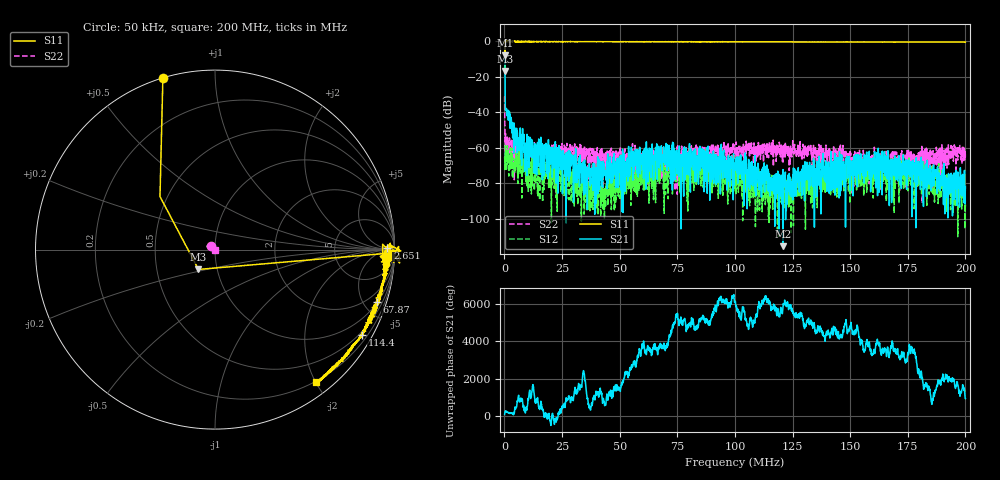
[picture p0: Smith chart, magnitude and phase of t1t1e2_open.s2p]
! 12-May-26 12:27:23 PM
! E:\REC_VNA_20260512\T1T1E2_OPEN.S2P
! CHANNEL.1
! TR.MEASUREMENT
! CORRECTED.DATA
# GHZ S RI R 50.0
! FREQ.GHZ  S11RE  S11IM  S21RE  S21IM  S12RE  S12IM  S22RE  S22IM
!; PortSelection: Port_12
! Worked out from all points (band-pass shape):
!   2000 points, 50 kHz to 200 MHz, reference 50 ohm
!   highest |S21| = -7.95 dB at 150 kHz (marker M1); lowest = -115.3 dB at 120.8 MHz (marker M2)
!   |S21| within 3 dB of the highest: start of sweep to 181.3 kHz
!   lowest |S11| = -16.8 dB at 250 kHz (marker M3), VSWR 1.34, Z = 40.6 - j9.18 ohm
!   |S11| at or under -10 dB: 177.5 kHz to 290.6 kHz (113.1 kHz wide, 48.3 % of centre)
!   |S22| runs from -91.2 to -31.1 dB; largest |S21 - S12| = 0.4
!   S11 on the Smith chart (normalised r, x): 50 kHz: 0.00, +0.74; 2.651 MHz: 48, +9; 67.87 MHz: 1.09, -6.12; 114.4 MHz: 0.39, -3.68; 200 MHz: 0.18, -2.01
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5e-05  -0.2905 0.9534  0.0648 0.3736  -5.83e-05 -0.000552  -0.02 0.0192
0.000150025  -0.3065 0.2956  -0.3676 0.1589  0.000276 -0.000292  0.00479 -0.00278
0.00025005  -0.0921 -0.1106  -0.0609 -0.118  0.000164 -0.00018  0.000698 -0.000815
0.0012503  0.9548 0.0159  -0.00983 -0.00338  0.000153 0.00113  0.00193 0.000377
0.00265065  0.9605 0.00766  -0.00351 0.00159  -0.00042 0.000242  0.000596 0.000216
0.004951226  0.9459 -0.0177  0.000122 0.00144  0.000466 0.000624  0.00127 -0.000122
0.009752426  0.966 -0.042  -0.001 0.00215  0.000245 8.44e-05  0.00113 0.000857
0.01505375  0.9589 -0.0819  -0.000866 0.000463  0.000348 0.000101  0.000748 0.000567
0.03345835  0.9407 -0.1495  1.15e-05 0.000159  -3.48e-05 9.51e-05  0.000743 0.000635
0.04156038  0.9339 -0.1848  0.00011 0.000118  7.66e-05 3.5e-05  0.000731 0.000242
0.05186296  0.9247 -0.2292  -9.61e-05 -1.75e-05  -0.000238 -9.37e-05  0.00025 9.24e-05
0.05486371  0.9201 -0.2393  0.000495 -0.000217  -2.26e-05 -8.5e-06  0.000425 0.000687
0.06676668  0.9095 -0.2919  0.000291 0.000185  8.8e-05 0.000246  0.000548 1.6e-05
0.06786696  0.8999 -0.2926  0.000769 0.000532  0.00032 -0.000268  0.000871 0.000286
0.100075  0.8539 -0.4228  0.000239 2.1e-06  -5.24e-05 -2.87e-05  0.000692 0.000455
0.1143786  0.8204 -0.4761  8.14e-05 9.03e-05  -6.18e-05 3.64e-05  0.000751 0.000658
0.1207802  0.8044 -0.4968  1.7e-06 2e-07  -1.05e-05 -4.8e-05  0.00011 0.000452
0.1333833  0.7677 -0.539  -0.00015 6.78e-05  -4.62e-05 -3.41e-05  -2.1e-06 0.000541
0.1475869  0.7287 -0.5871  -0.000244 0.000232  2.8e-06 -7.86e-05  -0.000614 0.000558
0.1628907  0.6878 -0.6384  -0.000353 0.000432  -8.31e-05 -0.000131  -0.000161 -0.000144
0.1666917  0.6747 -0.6518  3.53e-05 0.000113  -1.98e-05 -0.000154  -6.51e-05 -7.86e-05
0.2  0.5641 -0.7404  -7.18e-05 -3.81e-05  6.3e-06 2.14e-05  0.000514 0.000112
